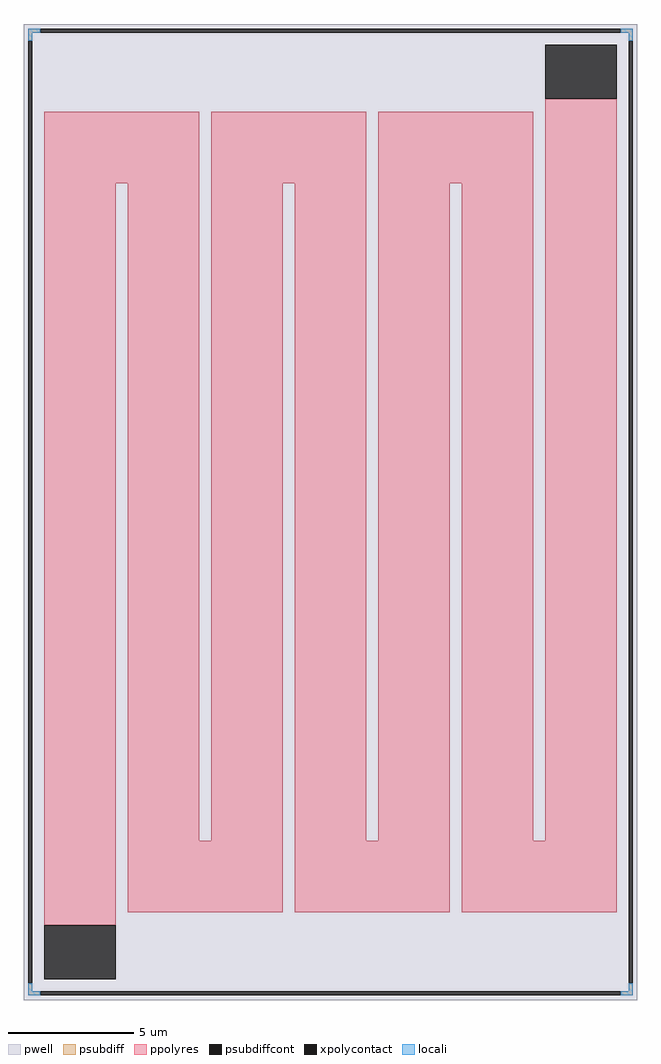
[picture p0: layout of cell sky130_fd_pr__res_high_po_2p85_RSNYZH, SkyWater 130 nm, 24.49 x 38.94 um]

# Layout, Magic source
magic
tech sky130A
magscale 1 2
<< pwell >>
rect -2449 -3894 2449 3894
<< psubdiff >>
rect -2413 3824 -2317 3858
rect 2317 3824 2413 3858
rect -2413 3762 -2379 3824
rect 2379 3762 2413 3824
rect -2413 -3824 -2379 -3762
rect 2379 -3824 2413 -3762
rect -2413 -3858 -2317 -3824
rect 2317 -3858 2413 -3824
<< psubdiffcont >>
rect -2317 3824 2317 3858
rect -2413 -3762 -2379 3762
rect 2379 -3762 2413 3762
rect -2317 -3858 2317 -3824
<< xpolycontact >>
rect 1713 3296 2283 3728
rect -2283 -3728 -1713 -3296
<< ppolyres >>
rect -2283 2622 -1047 3192
rect -2283 -3296 -1713 2622
rect -1617 -2622 -1047 2622
rect -951 2622 285 3192
rect -951 -2622 -381 2622
rect -1617 -3192 -381 -2622
rect -285 -2622 285 2622
rect 381 2622 1617 3192
rect 381 -2622 951 2622
rect -285 -3192 951 -2622
rect 1047 -2622 1617 2622
rect 1713 -2622 2283 3296
rect 1047 -3192 2283 -2622
<< locali >>
rect -2413 3824 -2317 3858
rect 2317 3824 2413 3858
rect -2413 3762 -2379 3824
rect 2379 3762 2413 3824
rect -2413 -3824 -2379 -3762
rect 2379 -3824 2413 -3762
rect -2413 -3858 -2317 -3824
rect 2317 -3858 2413 -3824
<< properties >>
string FIXED_BBOX -2396 -3841 2396 3841
string gencell sky130_fd_pr__res_high_po_2p85
string library sky130
string parameters w 2.85 l 31.92 m 1 nx 7 wmin 2.850 lmin 0.50 rho 319.8 val 27.127k dummy 0 dw 0.0 term 194.82 sterm 0.0 caplen 0 guard 1 glc 1 grc 1 gtc 1 gbc 1 compatible {sky130_fd_pr__res_high_po_0p35  sky130_fd_pr__res_high_po_0p69 sky130_fd_pr__res_high_po_1p41  sky130_fd_pr__res_high_po_2p85 sky130_fd_pr__res_high_po_5p73} snake 1 full_metal 1 wmax 2.850 n_guard 0 hv_guard 0 vias 1 viagb 0 viagt 0 viagl 0 viagr 0
<< end >>
